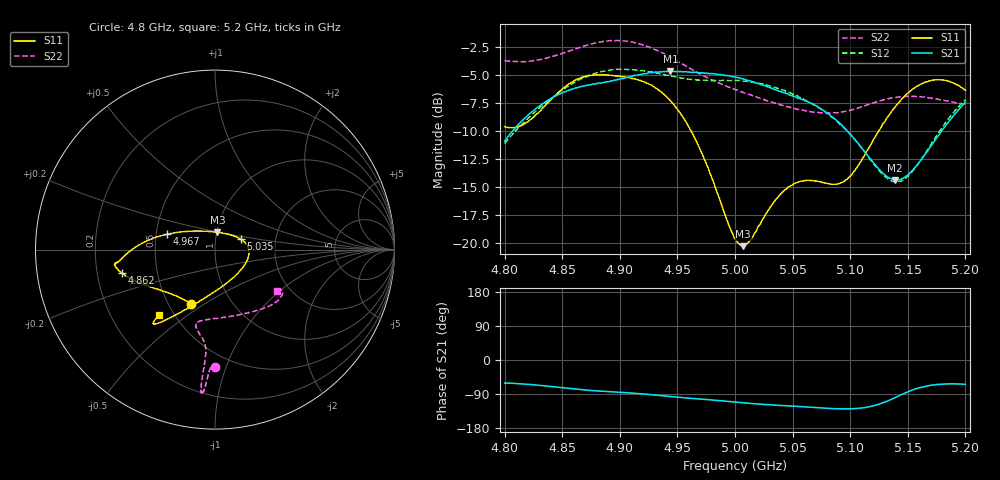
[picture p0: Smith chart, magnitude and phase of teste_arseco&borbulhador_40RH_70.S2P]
! Network Analyzer HP8722D
! Hewlett-Packard
! Data name: Linha & Wilkinson
! Saver's name: Rodrigo Anjos
! Comments: Teste da utilização de aquisição
! continua pelo VNA HP8722D
! Time and date: 15/4/2025 16:56
!  Frequency  S11  S21  S12  S22
# HZ  S  MA R 50
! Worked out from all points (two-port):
!   401 points, 4.8 GHz to 5.2 GHz, reference 50 ohm
!   highest |S21| = -4.63 dB at 4.944 GHz (marker M1); lowest = -14.4 dB at 5.139 GHz (marker M2)
!   |S21| within 3 dB of the highest: 4.832 GHz to 5.068 GHz (235.9 MHz wide, 4.77 % of centre); 5.198172 GHz to end of sweep
!   lowest |S11| = -20.3 dB at 5.007 GHz (marker M3), VSWR 1.21, Z = 50.4 + j9.76 ohm
!   |S11| at or under -10 dB: 4.962 GHz to 5.125 GHz (162.7 MHz wide, 3.23 % of centre)
!   |S22| runs from -8.4 to -1.9 dB; largest |S21 - S12| = 0.88
!   S11 on the Smith chart (normalised r, x): 4.8 GHz: 0.65, -0.44; 4.862 GHz: 0.31, -0.11; 4.967 GHz: 0.57, +0.11; 5.035 GHz: 1.33, +0.16; 5.2 GHz: 0.41, -0.39
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4.8e9  0.3312 -114.1  0.2854 -60.9  0.2783 -175.1  0.6539 -89.8
4.819e9  0.3454 -133.9  0.3673 -64.0  0.3553 -173.6  0.6486 -91.3
4.862e9  0.5367 -166.0  0.4938 -76.8  0.528 -176.6  0.74 -93.7
4.867e9  0.5502 -167.8  0.5012 -78.5  0.5431 -177.6  0.753 -93.8
4.9e9  0.5566 -172.2  0.5405 -85.3  0.5977 175.6  0.8035 -95.3
4.934e9  0.4814 -178.3  0.5817 -93.7  0.5736 171.9  0.7173 -95.7
4.944e9  0.4322 177.2  0.587 -96.4  0.5585 171.8  0.6771 -95.5
4.967e9  0.2812 162.3  0.5779 -102.2  0.5354 174.0  0.5792 -95.0
5e9  0.1048 105.8  0.552 -111.1  0.5333 176.3  0.4849 -99.4
5.007e9  0.09686 81.9  0.541 -112.8  0.5291 176.2  0.471 -101.1
5.014e9  0.1038 59.5  0.529 -114.8  0.5246 176.0  0.4582 -102.6
5.035e9  0.1551 21.9  0.485 -119.1  0.4958 174.9  0.4219 -103.8
5.049e9  0.181 7.0  0.4558 -121.5  0.4664 174.3  0.4029 -100.5
5.067e9  0.1903 -12.2  0.419 -124.9  0.4203 173.9  0.3856 -91.6
5.086e9  0.1828 -42.9  0.3611 -128.4  0.36 173.8  0.3825 -77.5
5.097e9  0.1923 -65.9  0.3188 -129.0  0.3175 174.4  0.3894 -68.3
5.134e9  0.375 -116.5  0.1952 -106.1  0.1918 -159.0  0.4428 -43.4
5.139e9  0.4062 -119.5  0.1914 -99.1  0.1879 -151.1  0.4476 -41.2
5.151e9  0.472 -124.6  0.2036 -82.8  0.2011 -132.3  0.453 -36.7
5.17e9  0.5323 -128.9  0.271 -66.7  0.2755 -112.9  0.4448 -32.2
5.185e9  0.5292 -130.3  0.3456 -63.2  0.3576 -107.1  0.431 -31.3
5.2e9  0.4812 -130.6  0.4257 -64.2  0.4371 -106.3  0.4162 -33.6
